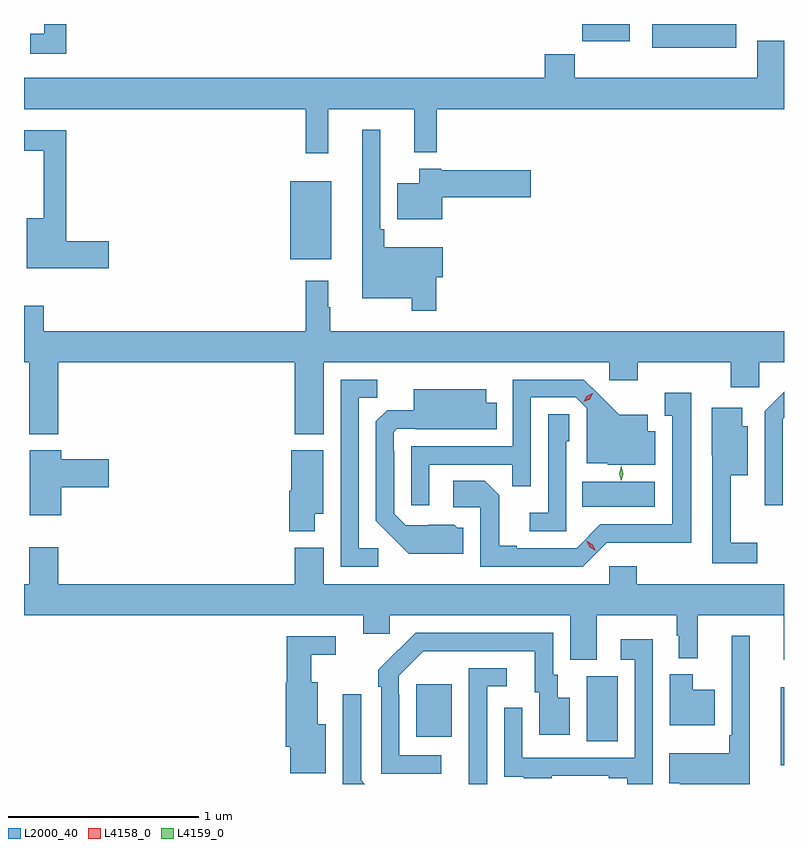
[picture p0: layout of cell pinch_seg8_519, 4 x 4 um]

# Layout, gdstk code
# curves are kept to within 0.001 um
import gdstk
lib = gdstk.Library(unit=1e-6, precision=1e-09)
def R(c, l, rs):  # rectangles x0, y0, x1, y1
    for r in rs: c.add(gdstk.rectangle(r[:2], r[2:], *l))
def P(c, l, *ps):  # polygons
    for p in ps: c.add(gdstk.Polygon(p, *l))
L2000_40 = (2000, 40)
L4158_0 = (4158, 0)
L4159_0 = (4159, 0)

pinch_seg8_519 = lib.new_cell('pinch_seg8_519')
R(pinch_seg8_519, L2000_40, [(123.095,1119.707,123.111,1120.117), (122.072,1119.832,122.236,1120.176), (121.175,1119.857,121.363,1120.132), (122.05,1121.066,122.431,1121.2), (120.512,1122.371,120.727,1122.781), (122.417,1123.484,122.86,1123.608), (122.05,1123.518,122.299,1123.608)])
P(pinch_seg8_519, L2000_40, [(119.333,1123.608),(119.217,1123.608),(119.217,1123.557),(119.145,1123.557),(119.145,1123.452),(119.333,1123.452)],
  [(120.713,1123.16),(121.166,1123.16),(121.166,1122.932),(121.283,1122.932),(121.283,1123.16),(123.111,1123.16),(123.111,1123.519),(122.969,1123.519),(122.969,1123.324),(122.009,1123.324),(122.009,1123.448),(121.853,1123.448),(121.853,1123.324),(119.111,1123.324),(119.111,1123.16),(120.595,1123.16),(120.595,1122.927),(120.713,1122.927)],
  [(121.28,1122.275),(121.315,1122.275),(121.315,1122.433),(121.007,1122.433),(121.007,1122.529),(120.987,1122.529),(120.987,1123.051),(120.89,1123.051),(120.89,1122.164),(121.152,1122.164),(121.152,1122.099),(121.28,1122.099)],
  [(119.557,1122.464),(119.333,1122.464),(119.333,1123.05),(119.111,1123.05),(119.111,1122.942),(119.216,1122.942),(119.216,1122.586),(119.126,1122.586),(119.126,1122.322),(119.557,1122.322)],
  [(121.312,1122.695),(121.777,1122.695),(121.777,1122.837),(121.308,1122.837),(121.308,1122.847),(121.19,1122.847),(121.19,1122.769),(121.076,1122.769),(121.076,1122.581),(121.312,1122.581)],
  [(119.291,1121.828),(120.536,1121.828),(120.536,1121.45),(120.688,1121.45),(120.688,1121.828),(122.19,1121.828),(122.19,1121.733),(122.342,1121.733),(122.342,1121.828),(122.831,1121.828),(122.831,1121.697),(122.982,1121.697),(122.982,1121.828),(123.111,1121.828),(123.111,1121.992),(120.724,1121.992),(120.724,1122.116),(120.712,1122.116),(120.712,1122.256),(120.595,1122.256),(120.595,1121.992),(119.216,1121.992),(119.216,1122.124),(119.111,1122.124),(119.111,1121.828),(119.138,1121.828),(119.138,1121.45),(119.291,1121.45)],
  [(120.976,1120.848),(120.873,1120.848),(120.873,1121.641),(120.969,1121.641),(120.969,1121.736),(120.777,1121.736),(120.777,1120.752),(120.976,1120.752)],
  [(121.245,1121.289),(121.681,1121.289),(121.681,1121.176),(121.779,1121.176),(121.779,1121.643),(122.016,1121.643),(122.073,1121.586),(122.073,1121.297),(122.184,1121.297),(122.184,1121.288),(122.434,1121.288),(122.434,1121.464),(122.395,1121.464),(122.395,1121.551),(122.243,1121.551),(122.056,1121.736),(121.683,1121.736),(121.683,1121.385),(121.149,1121.385),(121.149,1121.076),(121.245,1121.076)],
  [(121.423,1120.956),(121.392,1120.956),(121.376,1120.972),(121.119,1120.971),(121.059,1121.031),(121.059,1121.36),(121.056,1121.36),(121.056,1121.46),(121.074,1121.478),(121.174,1121.478),(121.174,1121.474),(121.598,1121.474),(121.598,1121.614),(121.543,1121.614),(121.543,1121.686),(121.163,1121.686),(121.163,1121.575),(121.022,1121.575),(120.963,1121.516),(120.963,1120.994),(121.135,1120.82),(121.423,1120.82)],
  [(123.105,1121.529),(123.111,1121.535),(123.111,1121.673),(123.009,1121.571),(123.009,1121.076),(123.105,1121.076)],
  [(122.178,1120.878),(122.623,1120.877),(122.623,1121.668),(122.483,1121.668),(122.483,1121.547),(122.522,1121.547),(122.522,1120.974),(122.145,1120.974),(122.019,1120.848),(121.705,1120.848),(121.705,1120.861),(121.611,1120.861),(121.611,1121.128),(121.535,1121.204),(121.371,1121.204),(121.371,1121.064),(121.512,1121.064),(121.512,1120.752),(122.052,1120.752)],
  [(122.971,1120.879),(122.831,1120.879),(122.831,1121.234),(122.92,1121.234),(122.92,1121.491),(122.89,1121.491),(122.89,1121.587),(122.732,1121.587),(122.732,1121.338),(122.733,1121.338),(122.733,1120.77),(122.971,1120.77)],
  [(121.965,1121.412),(121.98,1121.412),(121.98,1121.555),(121.869,1121.555),(121.869,1121.035),(121.773,1121.035),(121.773,1120.938),(121.965,1120.938)],
  [(119.308,1121.171),(119.557,1121.171),(119.557,1121.318),(119.308,1121.318),(119.308,1121.365),(119.141,1121.365),(119.141,1121.022),(119.308,1121.022)],
  [(120.64,1121.03),(120.685,1121.03),(120.685,1121.365),(120.518,1121.365),(120.518,1121.151),(120.506,1121.151),(120.506,1120.937),(120.64,1120.937)],
  [(122.125,1120.496),(122.547,1120.496),(122.547,1120.389),(122.558,1120.389),(122.558,1120.271),(122.657,1120.271),(122.657,1120.496),(123.11,1120.496),(123.11,1120.263),(123.111,1120.263),(123.111,1120.66),(122.337,1120.66),(122.337,1120.753),(122.19,1120.753),(122.19,1120.66),(120.688,1120.66),(120.688,1120.852),(120.536,1120.852),(120.536,1120.66),(119.291,1120.66),(119.291,1120.855),(119.138,1120.855),(119.138,1120.66),(119.111,1120.66),(119.111,1120.496),(120.896,1120.496),(120.896,1120.398),(121.035,1120.398),(121.035,1120.496),(121.985,1120.496),(121.985,1120.261),(122.125,1120.261)],
  [(121.306,1119.759),(121.086,1119.759),(121.086,1120.079),(121.083,1120.079),(121.083,1120.179),(121.212,1120.308),(121.799,1120.308),(121.799,1120.092),(121.823,1120.092),(121.823,1119.867),(121.984,1119.867),(121.984,1120.063),(121.921,1120.063),(121.921,1120.182),(121.896,1120.182),(121.896,1120.404),(121.172,1120.404),(120.975,1120.209),(120.975,1120.121),(120.99,1120.121),(120.99,1119.663),(121.306,1119.663)],
  [(122.932,1120.387),(122.835,1120.387),(122.835,1119.865),(122.823,1119.865),(122.823,1119.769),(122.508,1119.769),(122.508,1119.611),(122.561,1119.611),(122.561,1119.608),(122.932,1119.608)],
  [(120.7,1119.922),(120.658,1119.922),(120.658,1120.144),(120.622,1120.144),(120.622,1120.289),(120.751,1120.289),(120.751,1120.386),(120.493,1120.386),(120.493,1120.14),(120.488,1120.14),(120.488,1119.804),(120.512,1119.804),(120.512,1119.665),(120.7,1119.665)],
  [(122.421,1120.369),(122.253,1120.369),(122.253,1120.263),(122.325,1120.263),(122.325,1119.747),(121.734,1119.747),(121.734,1120.009),(121.638,1120.009),(121.638,1119.754),(121.639,1119.754),(121.639,1119.645),(121.741,1119.645),(121.741,1119.639),(121.889,1119.639),(121.889,1119.651),(122.189,1119.651),(122.189,1119.639),(122.285,1119.639),(122.285,1119.608),(122.421,1119.608)],
  [(121.548,1120.122),(121.651,1120.122),(121.651,1120.218),(121.452,1120.218),(121.452,1119.761),(121.451,1119.761),(121.451,1119.608),(121.548,1119.608)],
  [(122.746,1120.105),(122.632,1120.105),(122.632,1120.186),(122.51,1120.186),(122.51,1119.917),(122.746,1119.917)],
  [(120.885,1119.627),(120.885,1120.081),(120.789,1120.081),(120.789,1119.608),(120.904,1119.608)])
P(pinch_seg8_519, L4158_0, [(122.121,1120.836),(122.089,1120.855),(122.072,1120.887),(122.072,1120.888),(122.072,1120.888),(122.104,1120.868),(122.121,1120.836),(122.121,1120.836)],
  [(122.057,1121.619),(122.057,1121.619),(122.074,1121.648),(122.105,1121.664),(122.105,1121.664),(122.105,1121.663),(122.088,1121.634),(122.057,1121.619)])
P(pinch_seg8_519, L4159_0, [(122.254,1121.203),(122.245,1121.242),(122.254,1121.281),(122.255,1121.282),(122.255,1121.281),(122.265,1121.242),(122.255,1121.203),(122.255,1121.203)])

lib.write_gds('pinch_seg8_519.gds')
